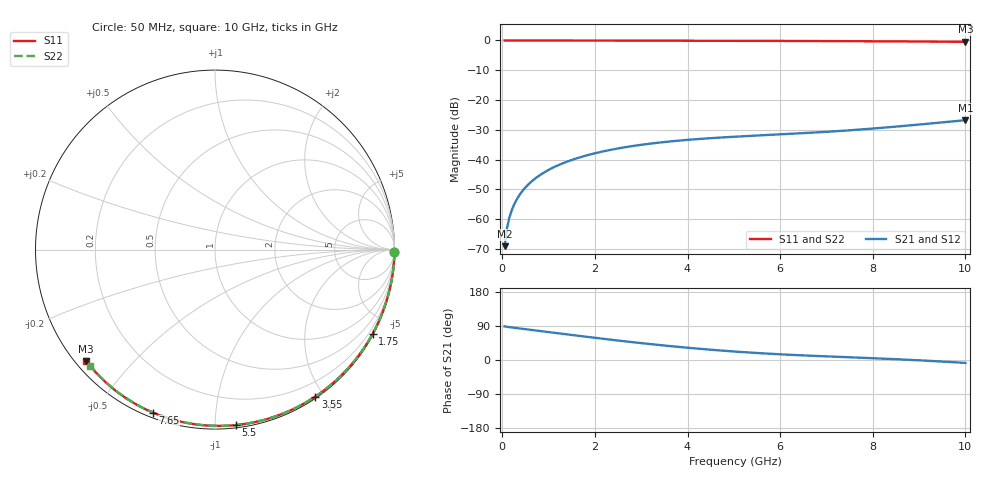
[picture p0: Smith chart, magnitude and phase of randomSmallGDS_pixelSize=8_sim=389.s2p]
! freq	dB(S11)	phase(S11)	dB(S12)	phase(S12)
!  dB(S21)	phase(S21)	dB(S22)	phase(S22)
!S-par simulation data
#  GHz  S  DB  R 50
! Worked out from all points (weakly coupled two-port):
!   200 points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, 50 MHz to 10 GHz, reference 50 ohm
!   highest |S21| = -26.78 dB at 10 GHz (marker M1); lowest = -69.1 dB at 50 MHz (marker M2)
!   lowest |S11| = -0.5 dB at 10 GHz (marker M3), VSWR 37.64, Z = 1.51 - j18.6 ohm
!   |S11| at or under -10 dB: nowhere
!   |S22| runs from -0.5 to 0.0 dB; largest |S21 - S12| = 0
!   S11 on the Smith chart (normalised r, x): 50 MHz: open; 1.75 GHz: 0.03, -3.98; 3.55 GHz: 0.02, -1.89; 5.5 GHz: 0.02, -1.13; 7.65 GHz: 0.02, -0.69; 10 GHz: 0.03, -0.37
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0.05  -0.00 -0.8  -69.10 88.6  -69.10 88.6  -0.00 -0.8
0.1  -0.00 -1.6  -63.14 87.5  -63.14 87.5  -0.00 -1.6
0.15  -0.00 -2.5  -59.68 86.7  -59.68 86.7  -0.00 -2.4
0.2  -0.00 -3.3  -57.22 85.9  -57.22 85.9  -0.00 -3.2
0.25  -0.00 -4.1  -55.31 85.2  -55.31 85.2  -0.00 -4.0
0.35  -0.00 -5.7  -52.43 83.7  -52.43 83.7  -0.00 -5.6
0.5  -0.01 -8.2  -49.37 81.5  -49.37 81.5  -0.01 -8.0
0.7  -0.01 -11.4  -46.49 78.4  -46.49 78.4  -0.01 -11.2
1  -0.02 -16.2  -43.48 73.7  -43.48 73.7  -0.02 -16.0
1.35  -0.03 -21.8  -40.99 68.3  -40.99 68.3  -0.03 -21.5
1.75  -0.04 -28.2  -38.92 62.3  -38.92 62.3  -0.04 -27.8
2.5  -0.05 -39.9  -36.27 51.4  -36.27 51.4  -0.05 -39.3
3.4  -0.07 -53.5  -34.29 39.4  -34.29 39.4  -0.07 -52.7
3.55  -0.07 -55.7  -34.04 37.6  -34.04 37.6  -0.07 -54.9
4.3  -0.09 -66.6  -33.04 29.1  -33.04 29.1  -0.09 -65.6
5.05  -0.12 -77.1  -32.31 22.0  -32.31 22.0  -0.12 -76.0
5.5  -0.13 -83.2  -31.94 18.4  -31.94 18.4  -0.13 -82.0
6.7  -0.19 -99.0  -30.97 11.0  -30.97 11.0  -0.19 -97.6
7.65  -0.25 -110.9  -30.01 6.5  -30.01 6.5  -0.25 -109.3
8.35  -0.30 -119.4  -29.15 3.0  -29.15 3.0  -0.30 -117.7
9.2  -0.38 -129.6  -27.96 -2.1  -27.96 -2.1  -0.37 -127.7
10  -0.46 -139.2  -26.78 -7.7  -26.78 -7.7  -0.46 -137.1
